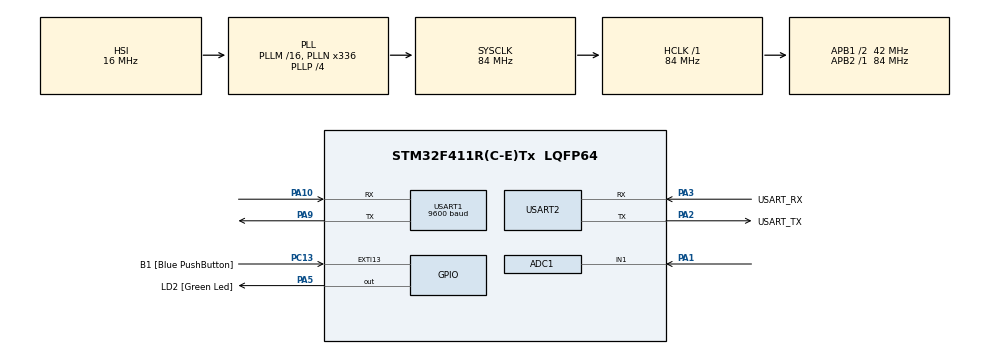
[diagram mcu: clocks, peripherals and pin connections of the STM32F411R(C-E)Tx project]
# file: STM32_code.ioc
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ADC1.Channel-0\#ChannelRegularConversion=ADC_CHANNEL_1
ADC1.NbrOfConversionFlag=1
ADC1.Rank-0\#ChannelRegularConversion=1
ADC1.SamplingTime-0\#ChannelRegularConversion=ADC_SAMPLETIME_3CYCLES
ADC1.master=1
Mcu.Family=STM32F4
Mcu.Name=STM32F411R(C-E)Tx
Mcu.Package=LQFP64
NVIC.ADC_IRQn=true\:0\:0\:false\:false\:true\:true\:true\:true
NVIC.PriorityGroup=NVIC_PRIORITYGROUP_0
PA1.Signal=ADCx_IN1
PA10.Mode=Asynchronous
PA10.Signal=USART1_RX
PA13.GPIO_Label=TMS
PA13.Mode=Serial_Wire
PA13.Signal=SYS_JTMS-SWDIO
PA14.GPIO_Label=TCK
PA14.Mode=Serial_Wire
PA14.Signal=SYS_JTCK-SWCLK
PA2.GPIO_Label=USART_TX
PA2.Mode=Asynchronous
PA2.Signal=USART2_TX
PA3.GPIO_Label=USART_RX
PA3.Mode=Asynchronous
PA3.Signal=USART2_RX
PA5.GPIO_Label=LD2 [Green Led]
PA5.Signal=GPIO_Output
PA9.Mode=Asynchronous
PA9.Signal=USART1_TX
PB3.GPIO_Label=SWO
PB3.Signal=SYS_JTDO-SWO
PC13-ANTI_TAMP.GPIO_Label=B1 [Blue PushButton]
PC13-ANTI_TAMP.GPIO_ModeDefaultEXTI=GPIO_MODE_IT_FALLING
PC13-ANTI_TAMP.Signal=GPXTI13
PC14-OSC32_IN.Mode=LSE-External-Oscillator
PC14-OSC32_IN.Signal=RCC_OSC32_IN
PC15-OSC32_OUT.Mode=LSE-External-Oscillator
PC15-OSC32_OUT.Signal=RCC_OSC32_OUT
PH0\ -\ OSC_IN.Mode=HSE-External-Oscillator
PH0\ -\ OSC_IN.Signal=RCC_OSC_IN
PH1\ -\ OSC_OUT.Mode=HSE-External-Oscillator
PH1\ -\ OSC_OUT.Signal=RCC_OSC_OUT
ProjectManager.HeapSize=0x200
ProjectManager.StackSize=0x400
ProjectManager.TargetToolchain=STM32CubeIDE
RCC.48MHZClocksFreq_Value=84000000
RCC.AHBFreq_Value=84000000
RCC.APB1CLKDivider=RCC_HCLK_DIV2
RCC.APB1Freq_Value=42000000
RCC.APB1TimFreq_Value=84000000
RCC.APB2Freq_Value=84000000
RCC.APB2TimFreq_Value=84000000
RCC.CortexFreq_Value=84000000
RCC.FLatency-AdvancedSettings=FLASH_LATENCY_2
RCC.HCLKFreq_Value=84000000
RCC.HSE_VALUE=8000000
RCC.HSI_VALUE=16000000
RCC.PLLN=336
RCC.PLLP=RCC_PLLP_DIV4
RCC.SYSCLKFreq_VALUE=84000000
RCC.SYSCLKSource=RCC_SYSCLKSOURCE_PLLCLK
RCC.VCOOutputFreq_Value=336000000
SH.ADCx_IN1.0=ADC1_IN1,IN1
TIM1.Prescaler=71
TIM2.Period=65535
TIM2.Prescaler=71
TIM3.Prescaler=71
USART1.BaudRate=9600
USART1.VirtualMode=VM_ASYNC
USART2.VirtualMode=VM_ASYNC
VP_TIM1_VS_ClockSourceINT.Mode=Internal
VP_TIM2_VS_ClockSourceINT.Mode=Internal
VP_TIM3_VS_ClockSourceINT.Mode=Internal
board=NUCLEO-F411RE

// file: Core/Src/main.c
/* USER CODE BEGIN Header */
/**
  ******************************************************************************
  * @file           : main.c
  * @brief          : Main program body
  ******************************************************************************
  * @attention
  *
  * Copyright (c) 2023 STMicroelectronics.
  * All rights reserved.
  *
  * This software is licensed under terms that can be found in the LICENSE file
  * in the root directory of this software component.
  * If no LICENSE file comes with this software, it is provided AS-IS.
  *
  ******************************************************************************
  */
/* USER CODE END Header */
#include "main.h"

/* USER CODE BEGIN PD */

/* Pin definitions for dust sensor */
#define measurePin GPIO_PIN_0
#define measurePort GPIOA
#define ledPowerPin GPIO_PIN_1
#define ledPowerPort GPIOA

#define DHT11_PORT GPIOB
#define DHT11_PIN GPIO_PIN_5

/* USER CODE END PD */

ADC_HandleTypeDef hadc1;

TIM_HandleTypeDef htim1;
TIM_HandleTypeDef htim2;
TIM_HandleTypeDef htim3;

UART_HandleTypeDef huart1;
UART_HandleTypeDef huart2;

/* USER CODE BEGIN PV */

/* Variables to store dust sensor readings */
float voMeasured = 0;
float calcVoltage = 0;
int dustDensity = 0;

/* Sampling and sleep times for dust sensor */
int samplingTime = 280;
int deltaTime = 40;
int sleepTime = 4680;

uint8_t RHI, RHD, TCI, TCD, SUM;
uint32_t pMillis, cMillis;
uint8_t tCelsius = 0;
float tFahrenheit = 0;
uint8_t RH = 0;

/* USER CODE END PV */

void SystemClock_Config(void);
static void MX_GPIO_Init(void);
static void MX_USART2_UART_Init(void);
static void MX_ADC1_Init(void);
static void MX_TIM1_Init(void);
static void MX_TIM2_Init(void);
static void MX_TIM3_Init(void);
static void MX_USART1_UART_Init(void);

/* USER CODE BEGIN 0 */

void microDelay (uint16_t delay)
{
  __HAL_TIM_SET_COUNTER(&htim1, 0);
  while (__HAL_TIM_GET_COUNTER(&htim1) < delay);
}

uint8_t DHT11_Start (void)
{
  uint8_t Response = 0;
  GPIO_InitTypeDef GPIO_InitStructPrivate = {0};
  GPIO_InitStructPrivate.Pin = DHT11_PIN;
  GPIO_InitStructPrivate.Mode = GPIO_MODE_OUTPUT_PP;
  GPIO_InitStructPrivate.Speed = GPIO_SPEED_FREQ_LOW;
  GPIO_InitStructPrivate.Pull = GPIO_NOPULL;
  HAL_GPIO_Init(DHT11_PORT, &GPIO_InitStructPrivate); // set the pin as output
  HAL_GPIO_WritePin (DHT11_PORT, DHT11_PIN, 0);   // pull the pin low
  HAL_Delay(20);   // wait for 20ms
  HAL_GPIO_WritePin (DHT11_PORT, DHT11_PIN, 1);   // pull the pin high
  microDelay (30);   // wait for 30us
  GPIO_InitStructPrivate.Mode = GPIO_MODE_INPUT;
  GPIO_InitStructPrivate.Pull = GPIO_PULLUP;
  HAL_GPIO_Init(DHT11_PORT, &GPIO_InitStructPrivate); // set the pin as input
  microDelay (40);
  if (!(HAL_GPIO_ReadPin (DHT11_PORT, DHT11_PIN)))
  {
    microDelay (80);
    if ((HAL_GPIO_ReadPin (DHT11_PORT, DHT11_PIN))) Response = 1;
  }
  pMillis = HAL_GetTick();
  cMillis = HAL_GetTick();
  while ((HAL_GPIO_ReadPin (DHT11_PORT, DHT11_PIN)) && pMillis + 2 > cMillis)
  {
    cMillis = HAL_GetTick();
  }
  return Response;
}

uint8_t DHT11_Read (void)
{
  uint8_t a,b;
  for (a=0;a<8;a++)
  {
    pMillis = HAL_GetTick();
    cMillis = HAL_GetTick();
    while (!(HAL_GPIO_ReadPin (DHT11_PORT, DHT11_PIN)) && pMillis + 2 > cMillis)
    {  // wait for the pin to go high
      cMillis = HAL_GetTick();
    }
    microDelay (40);   // wait for 40 us
    if (!(HAL_GPIO_ReadPin (DHT11_PORT, DHT11_PIN)))   // if the pin is low
      b&= ~(1<<(7-a));
    else
      b|= (1<<(7-a));
    pMillis = HAL_GetTick();
    cMillis = HAL_GetTick();
    while ((HAL_GPIO_ReadPin (DHT11_PORT, DHT11_PIN)) && pMillis + 2 > cMillis)
    {  // wait for the pin to go low
      cMillis = HAL_GetTick();
    }
  }
  return b;
}
int length = 32;
/* USER CODE END 0 */

int main(void)
{

  /* MCU Configuration--------------------------------------------------------*/

  /* Reset of all peripherals, Initializes the Flash interface and the Systick. */
  HAL_Init();

  /* Configure the system clock */
  SystemClock_Config();

  /* Initialize all configured peripherals */
  MX_GPIO_Init();
  MX_USART2_UART_Init();
  MX_ADC1_Init();
  MX_TIM1_Init();
  MX_TIM2_Init();
  MX_TIM3_Init();
  MX_USART1_UART_Init();
  /* USER CODE BEGIN 2 */
  HAL_TIM_Base_Start(&htim2);
  HAL_TIM_Base_Start(&htim1);
  HAL_TIM_Base_Start(&htim3);
  /* USER CODE END 2 */

  /* Infinite loop */
  while (1)
  {

    /* USER CODE BEGIN 3 */
	    /* Turn on LED power */
	    HAL_GPIO_WritePin(ledPowerPort, ledPowerPin, GPIO_PIN_RESET);

	    /* Wait for sampling time */
	    HAL_Delay(samplingTime);

	    /* Read dust value from ADC */
	    HAL_ADC_Start(&hadc1);
	    if (HAL_ADC_PollForConversion(&hadc1, 10) == HAL_OK)
	    {
	      voMeasured = HAL_ADC_GetValue(&hadc1);
	    }

	    /* Wait for delta time */
	    HAL_Delay(deltaTime);

	    /* Turn off LED power */
	    HAL_GPIO_WritePin(ledPowerPort, ledPowerPin, GPIO_PIN_SET);

	    /* Wait for sleep time */
	    HAL_Delay(sleepTime);

	    /* Convert voltage to dust density */
	    calcVoltage = voMeasured * (5.0 / 4096.0);
	    dustDensity = 170 * calcVoltage - 0.1;

	    /* Print dust density to serial monitor */
	    char buf[50];
	    sprintf(buf, "@%u|", dustDensity);
	    HAL_UART_Transmit(&huart1, (uint8_t*)buf, strlen(buf), 100);
	    //char buf2[50];
	    //sprintf(buf2, "@%u|", dustDensity);
	   // HAL_UART_Transmit(&huart2, (uint8_t*)buf2, strlen(buf2), 100);

	    /* Wait for 1 second */
	    HAL_Delay(100);

	    if(DHT11_Start() || 1) {
	    	RHI = DHT11_Read(); // Relative humidity integral
	    	RHD = DHT11_Read(); // Relative humidity decimal
	    	TCI = DHT11_Read(); // Celsius integral
	    	TCD = DHT11_Read(); // Celsius decimal
	    	SUM = DHT11_Read(); // Check sum
	    	if (RHI + RHD + TCI + TCD == SUM) {
	    		// Can use RHI and TCI for any purposes if whole number only needed
	    		tCelsius = (uint8_t)TCI + (uint8_t)(TCD/10.0);
	    		tFahrenheit = tCelsius * 9/5 + 32;
	    		RH = (uint8_t)RHI + (uint8_t)(RHD/10.0);
	    		// Can use tCelsius, tFahrenheit and RH for any purposes
	    	}
	    	// HAL_UART_Transmit(&huart2, TCI, 4, 100);

	    	char out[20] = "";
	    	HAL_GPIO_TogglePin(GPIOA, GPIO_PIN_5);
	    	sprintf(out, "%u|%u|", tCelsius,RH);
	    	HAL_UART_Transmit(&huart1, out, strlen(out), 100);
	    	//char temp[50] = "";
	        //sprintf(temp, " temp : = %.2f , humid = %.2f\r\n", tCelsius,RH);
	    	HAL_UART_Transmit(&huart2, out, strlen(out), 100);
	    }
	    HAL_Delay(100);

	    // Read analog input from MiCS-5524 sensor
	    uint16_t reading = 0;
	    char buffer[20]="";
	    HAL_ADC_Start(&hadc1);
	    if (HAL_ADC_PollForConversion(&hadc1, 100) == HAL_OK) {
	      reading = HAL_ADC_GetValue(&hadc1);
	    }
	    HAL_ADC_Stop(&hadc1);

	    // Send reading to serial console
	    reading = reading*1000 /4096;
	    sprintf(buffer, "%u\n", reading);
	    HAL_UART_Transmit(&huart1, (uint8_t*)buffer, strlen(buffer), 100);
	    char temp[50] = "";
	    //sprintf(temp, " Gas : = %u\r\n", reading);
	    //HAL_UART_Transmit(&huart2, (uint8_t*)buffer, strlen(buffer), 100);
	    HAL_Delay(100);

  }
  /* USER CODE END 3 */
}

void SystemClock_Config(void)
{
  RCC_OscInitTypeDef RCC_OscInitStruct = {0};
  RCC_ClkInitTypeDef RCC_ClkInitStruct = {0};

  /** Configure the main internal regulator output voltage
  */
  __HAL_RCC_PWR_CLK_ENABLE();
  __HAL_PWR_VOLTAGESCALING_CONFIG(PWR_REGULATOR_VOLTAGE_SCALE1);

  /** Initializes the RCC Oscillators according to the specified parameters
  * in the RCC_OscInitTypeDef structure.
  */
  RCC_OscInitStruct.OscillatorType = RCC_OSCILLATORTYPE_HSI;
  RCC_OscInitStruct.HSIState = RCC_HSI_ON;
  RCC_OscInitStruct.HSICalibrationValue = RCC_HSICALIBRATION_DEFAULT;
  RCC_OscInitStruct.PLL.PLLState = RCC_PLL_ON;
  RCC_OscInitStruct.PLL.PLLSource = RCC_PLLSOURCE_HSI;
  RCC_OscInitStruct.PLL.PLLM = 16;
  RCC_OscInitStruct.PLL.PLLN = 336;
  RCC_OscInitStruct.PLL.PLLP = RCC_PLLP_DIV4;
  RCC_OscInitStruct.PLL.PLLQ = 4;
  if (HAL_RCC_OscConfig(&RCC_OscInitStruct) != HAL_OK)
  {
    Error_Handler();
  }

  /** Initializes the CPU, AHB and APB buses clocks
  */
  RCC_ClkInitStruct.ClockType = RCC_CLOCKTYPE_HCLK|RCC_CLOCKTYPE_SYSCLK
                              |RCC_CLOCKTYPE_PCLK1|RCC_CLOCKTYPE_PCLK2;
  RCC_ClkInitStruct.SYSCLKSource = RCC_SYSCLKSOURCE_PLLCLK;
  RCC_ClkInitStruct.AHBCLKDivider = RCC_SYSCLK_DIV1;
  RCC_ClkInitStruct.APB1CLKDivider = RCC_HCLK_DIV2;
  RCC_ClkInitStruct.APB2CLKDivider = RCC_HCLK_DIV1;

  if (HAL_RCC_ClockConfig(&RCC_ClkInitStruct, FLASH_LATENCY_2) != HAL_OK)
  {
    Error_Handler();
  }
}

static void MX_ADC1_Init(void)
{

  ADC_ChannelConfTypeDef sConfig = {0};

  /** Configure the global features of the ADC (Clock, Resolution, Data Alignment and number of conversion)
  */
  hadc1.Instance = ADC1;
  hadc1.Init.ClockPrescaler = ADC_CLOCK_SYNC_PCLK_DIV4;
  hadc1.Init.Resolution = ADC_RESOLUTION_12B;
  hadc1.Init.ScanConvMode = DISABLE;
  hadc1.Init.ContinuousConvMode = DISABLE;
  hadc1.Init.DiscontinuousConvMode = DISABLE;
  hadc1.Init.ExternalTrigConvEdge = ADC_EXTERNALTRIGCONVEDGE_NONE;
  hadc1.Init.ExternalTrigConv = ADC_SOFTWARE_START;
  hadc1.Init.DataAlign = ADC_DATAALIGN_RIGHT;
  hadc1.Init.NbrOfConversion = 1;
  hadc1.Init.DMAContinuousRequests = DISABLE;
  hadc1.Init.EOCSelection = ADC_EOC_SINGLE_CONV;
  if (HAL_ADC_Init(&hadc1) != HAL_OK)
  {
    Error_Handler();
  }

  /** Configure for the selected ADC regular channel its corresponding rank in the sequencer and its sample time.
  */
  sConfig.Channel = ADC_CHANNEL_1;
  sConfig.Rank = 1;
  sConfig.SamplingTime = ADC_SAMPLETIME_3CYCLES;
  if (HAL_ADC_ConfigChannel(&hadc1, &sConfig) != HAL_OK)
  {
    Error_Handler();
  }

}

static void MX_TIM1_Init(void)
{

  TIM_ClockConfigTypeDef sClockSourceConfig = {0};
  TIM_MasterConfigTypeDef sMasterConfig = {0};

  htim1.Instance = TIM1;
  htim1.Init.Prescaler = 71;
  htim1.Init.CounterMode = TIM_COUNTERMODE_UP;
  htim1.Init.Period = 65535;
  htim1.Init.ClockDivision = TIM_CLOCKDIVISION_DIV1;
  htim1.Init.RepetitionCounter = 0;
  htim1.Init.AutoReloadPreload = TIM_AUTORELOAD_PRELOAD_DISABLE;
  if (HAL_TIM_Base_Init(&htim1) != HAL_OK)
  {
    Error_Handler();
  }
  sClockSourceConfig.ClockSource = TIM_CLOCKSOURCE_INTERNAL;
  if (HAL_TIM_ConfigClockSource(&htim1, &sClockSourceConfig) != HAL_OK)
  {
    Error_Handler();
  }
  sMasterConfig.MasterOutputTrigger = TIM_TRGO_RESET;
  sMasterConfig.MasterSlaveMode = TIM_MASTERSLAVEMODE_DISABLE;
  if (HAL_TIMEx_MasterConfigSynchronization(&htim1, &sMasterConfig) != HAL_OK)
  {
    Error_Handler();
  }

}

static void MX_TIM2_Init(void)
{

  TIM_ClockConfigTypeDef sClockSourceConfig = {0};
  TIM_MasterConfigTypeDef sMasterConfig = {0};

  htim2.Instance = TIM2;
  htim2.Init.Prescaler = 71;
  htim2.Init.CounterMode = TIM_COUNTERMODE_UP;
  htim2.Init.Period = 65535;
  htim2.Init.ClockDivision = TIM_CLOCKDIVISION_DIV1;
  htim2.Init.AutoReloadPreload = TIM_AUTORELOAD_PRELOAD_DISABLE;
  if (HAL_TIM_Base_Init(&htim2) != HAL_OK)
  {
    Error_Handler();
  }
  sClockSourceConfig.ClockSource = TIM_CLOCKSOURCE_INTERNAL;
  if (HAL_TIM_ConfigClockSource(&htim2, &sClockSourceConfig) != HAL_OK)
  {
    Error_Handler();
  }
  sMasterConfig.MasterOutputTrigger = TIM_TRGO_RESET;
  sMasterConfig.MasterSlaveMode = TIM_MASTERSLAVEMODE_DISABLE;
  if (HAL_TIMEx_MasterConfigSynchronization(&htim2, &sMasterConfig) != HAL_OK)
  {
    Error_Handler();
  }

}

static void MX_TIM3_Init(void)
{

  TIM_ClockConfigTypeDef sClockSourceConfig = {0};
  TIM_MasterConfigTypeDef sMasterConfig = {0};

  htim3.Instance = TIM3;
  htim3.Init.Prescaler = 71;
  htim3.Init.CounterMode = TIM_COUNTERMODE_UP;
  htim3.Init.Period = 65535;
  htim3.Init.ClockDivision = TIM_CLOCKDIVISION_DIV1;
  htim3.Init.AutoReloadPreload = TIM_AUTORELOAD_PRELOAD_DISABLE;
  if (HAL_TIM_Base_Init(&htim3) != HAL_OK)
  {
    Error_Handler();
  }
  sClockSourceConfig.ClockSource = TIM_CLOCKSOURCE_INTERNAL;
  if (HAL_TIM_ConfigClockSource(&htim3, &sClockSourceConfig) != HAL_OK)
  {
    Error_Handler();
  }
  sMasterConfig.MasterOutputTrigger = TIM_TRGO_RESET;
  sMasterConfig.MasterSlaveMode = TIM_MASTERSLAVEMODE_DISABLE;
  if (HAL_TIMEx_MasterConfigSynchronization(&htim3, &sMasterConfig) != HAL_OK)
  {
    Error_Handler();
  }

}

static void MX_USART1_UART_Init(void)
{

  huart1.Instance = USART1;
  huart1.Init.BaudRate = 9600;
  huart1.Init.WordLength = UART_WORDLENGTH_8B;
  huart1.Init.StopBits = UART_STOPBITS_1;
  huart1.Init.Parity = UART_PARITY_NONE;
  huart1.Init.Mode = UART_MODE_TX_RX;
  huart1.Init.HwFlowCtl = UART_HWCONTROL_NONE;
  huart1.Init.OverSampling = UART_OVERSAMPLING_16;
  if (HAL_UART_Init(&huart1) != HAL_OK)
  {
    Error_Handler();
  }

}

static void MX_USART2_UART_Init(void)
{

  huart2.Instance = USART2;
  huart2.Init.BaudRate = 115200;
  huart2.Init.WordLength = UART_WORDLENGTH_8B;
  huart2.Init.StopBits = UART_STOPBITS_1;
  huart2.Init.Parity = UART_PARITY_NONE;
  huart2.Init.Mode = UART_MODE_TX_RX;
  huart2.Init.HwFlowCtl = UART_HWCONTROL_NONE;
  huart2.Init.OverSampling = UART_OVERSAMPLING_16;
  if (HAL_UART_Init(&huart2) != HAL_OK)
  {
    Error_Handler();
  }

}

static void MX_GPIO_Init(void)
{
  GPIO_InitTypeDef GPIO_InitStruct = {0};

  /* GPIO Ports Clock Enable */
  __HAL_RCC_GPIOC_CLK_ENABLE();
  __HAL_RCC_GPIOH_CLK_ENABLE();
  __HAL_RCC_GPIOA_CLK_ENABLE();
  __HAL_RCC_GPIOB_CLK_ENABLE();

  /*Configure GPIO pin Output Level */
  HAL_GPIO_WritePin(LD2_GPIO_Port, LD2_Pin, GPIO_PIN_RESET);

  /*Configure GPIO pin : B1_Pin */
  GPIO_InitStruct.Pin = B1_Pin;
  GPIO_InitStruct.Mode = GPIO_MODE_IT_FALLING;
  GPIO_InitStruct.Pull = GPIO_NOPULL;
  HAL_GPIO_Init(B1_GPIO_Port, &GPIO_InitStruct);

  /*Configure GPIO pin : LD2_Pin */
  GPIO_InitStruct.Pin = LD2_Pin;
  GPIO_InitStruct.Mode = GPIO_MODE_OUTPUT_PP;
  GPIO_InitStruct.Pull = GPIO_NOPULL;
  GPIO_InitStruct.Speed = GPIO_SPEED_FREQ_LOW;
  HAL_GPIO_Init(LD2_GPIO_Port, &GPIO_InitStruct);

}

void Error_Handler(void)
{
  __disable_irq();
  while (1)
  {
  }
}
